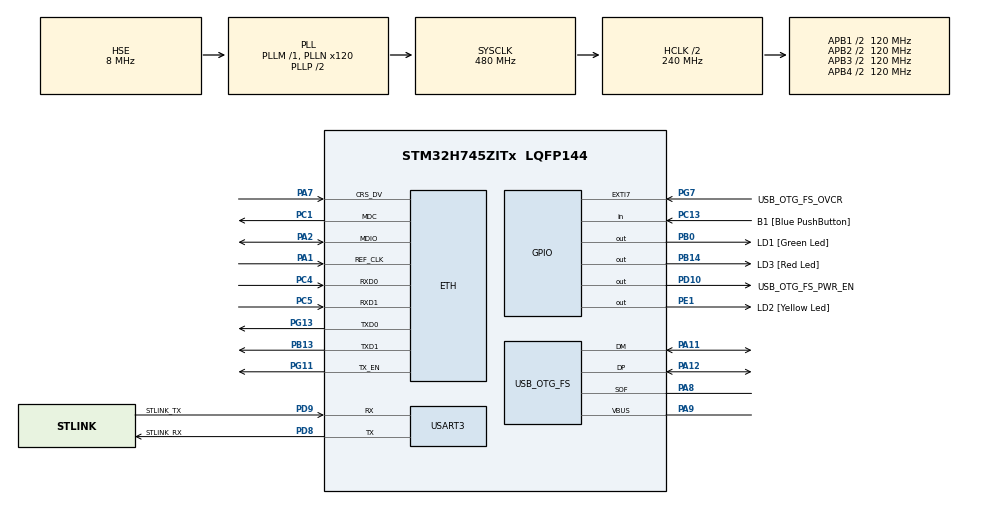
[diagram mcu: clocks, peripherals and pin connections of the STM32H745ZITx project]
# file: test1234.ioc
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CortexM4.IPs=FATFS_M4\:I,FREERTOS_M4\:I,IWDG2\:I,RCC,WWDG2\:I,DMA,BDMA,MDMA,NVIC2\:I,USART3,ETH,DEBUG,USB_DEVICE_M4\:I,USB_HOST_M4\:I,PDM2PCM_M4\:I,PWR,RESMGR_UTILITY,SYS_M4\:I,CORTEX_M4\:I,OPENAMP_M4\:I,VREFBUF
CortexM7.IPs=FATFS_M7\:I,FREERTOS_M7\:I,IWDG1\:I,RCC\:I,WWDG1\:I,DMA\:I,BDMA\:I,MDMA\:I,NVIC1\:I,SYS\:I,USART3\:I,USB_OTG_FS\:I,ETH\:I,CORTEX_M7\:I,DEBUG\:I,USB_DEVICE_M7\:I,USB_HOST_M7\:I,PDM2PCM_M7\:I,PWR\:I,RESMGR_UTILITY\:I,OPENAMP_M7\:I,VREFBUF\:I,TIM2\:I
ETH.MediaInterface=HAL_ETH_RMII_MODE
Mcu.Family=STM32H7
Mcu.Name=STM32H745ZITx
Mcu.Package=LQFP144
NVIC1.PriorityGroup=NVIC_PRIORITYGROUP_4
NVIC1.TIM2_IRQn=true\:0\:0\:false\:false\:true\:true\:true
NVIC2.PriorityGroup=NVIC_PRIORITYGROUP_4
PA1.Mode=RMII
PA1.PinAttribute=CortexM7
PA1.Signal=ETH_REF_CLK
PA11.Mode=Device_Only
PA11.PinAttribute=CortexM7
PA11.Signal=USB_OTG_FS_DM
PA12.Mode=Device_Only
PA12.PinAttribute=CortexM7
PA12.Signal=USB_OTG_FS_DP
PA2.Mode=RMII
PA2.PinAttribute=CortexM7
PA2.Signal=ETH_MDIO
PA7.Mode=RMII
PA7.PinAttribute=CortexM7
PA7.Signal=ETH_CRS_DV
PA8.Mode=Activate_SOF_FS
PA8.PinAttribute=CortexM7
PA8.Signal=USB_OTG_FS_SOF
PA9.Mode=Activate_VBUS
PA9.PinAttribute=CortexM7
PA9.Signal=USB_OTG_FS_VBUS
PB0.GPIO_Label=LD1 [Green Led]
PB0.PinAttribute=Free
PB0.Signal=GPIO_Output
PB13.Mode=RMII
PB13.PinAttribute=CortexM7
PB13.Signal=ETH_TXD1
PB14.GPIO_Label=LD3 [Red Led]
PB14.PinAttribute=Free
PB14.Signal=GPIO_Output
PC1.Mode=RMII
PC1.PinAttribute=CortexM7
PC1.Signal=ETH_MDC
PC13.GPIO_Label=B1 [Blue PushButton]
PC13.PinAttribute=Free
PC13.Signal=GPIO_Input
PC14-OSC32_IN\ (OSC32_IN).Mode=LSE-External-Oscillator
PC14-OSC32_IN\ (OSC32_IN).PinAttribute=CortexM7
PC14-OSC32_IN\ (OSC32_IN).Signal=RCC_OSC32_IN
PC15-OSC32_OUT\ (OSC32_OUT).Mode=LSE-External-Oscillator
PC15-OSC32_OUT\ (OSC32_OUT).PinAttribute=CortexM7
PC15-OSC32_OUT\ (OSC32_OUT).Signal=RCC_OSC32_OUT
PC4.Mode=RMII
PC4.PinAttribute=CortexM7
PC4.Signal=ETH_RXD0
PC5.Mode=RMII
PC5.PinAttribute=CortexM7
PC5.Signal=ETH_RXD1
PD10.GPIO_Label=USB_OTG_FS_PWR_EN
PD10.PinAttribute=Free
PD10.Signal=GPIO_Output
PD8.GPIO_Label=STLINK_RX
PD8.Mode=Asynchronous
PD8.PinAttribute=CortexM7
PD8.Signal=USART3_TX
PD9.GPIO_Label=STLINK_TX
PD9.Mode=Asynchronous
PD9.PinAttribute=CortexM7
PD9.Signal=USART3_RX
PE1.GPIO_Label=LD2 [Yellow Led]
PE1.PinAttribute=Free
PE1.Signal=GPIO_Output
PG11.Mode=RMII
PG11.PinAttribute=CortexM7
PG11.Signal=ETH_TX_EN
PG13.Mode=RMII
PG13.PinAttribute=CortexM7
PG13.Signal=ETH_TXD0
PG7.GPIO_Label=USB_OTG_FS_OVCR
PG7.PinAttribute=Free
PG7.Signal=GPXTI7
PH0-OSC_IN\ (PH0).Mode=HSE-External-Clock-Source
PH0-OSC_IN\ (PH0).PinAttribute=CortexM7
PH0-OSC_IN\ (PH0).Signal=RCC_OSC_IN
PH1-OSC_OUT\ (PH1).PinAttribute=CortexM7
PH1-OSC_OUT\ (PH1).Signal=RCC_OSC_OUT
ProjectManager.HeapSize=M4-0x200,M7-0x200
ProjectManager.StackSize=M4-0x400,M7-0x400
ProjectManager.TargetToolchain=STM32CubeIDE
RCC.ADCFreq_Value=16125000
RCC.APB1Freq_Value=120000000
RCC.APB2Freq_Value=120000000
RCC.APB3Freq_Value=120000000
RCC.APB4Freq_Value=120000000
RCC.CortexFreq_Value=480000000
RCC.D1PPRE=RCC_APB3_DIV2
RCC.D2PPRE1=RCC_APB1_DIV2
RCC.D2PPRE2=RCC_APB2_DIV2
RCC.D3PPRE=RCC_APB4_DIV2
RCC.DIVM1=1
RCC.DIVM3=1
RCC.DIVN1=120
RCC.DIVN3=24
RCC.DIVQ3=4
RCC.HCLKFreq_Value=240000000
RCC.HPRE=RCC_HCLK_DIV2
RCC.HSE_VALUE=8000000
RCC.PLL2FRACN=0
RCC.PLL3FRACN=0
RCC.PLLFRACN=0
RCC.SYSCLKFreq_VALUE=480000000
RCC.SYSCLKSource=RCC_SYSCLKSOURCE_PLLCLK
RCC.SupplySource=PWR_DIRECT_SMPS_SUPPLY
RCC.USBCLockSelection=RCC_USBCLKSOURCE_PLL3
RCC.USBFreq_Value=48000000
TIM2.AutoReloadPreload=TIM_AUTORELOAD_PRELOAD_ENABLE
TIM2.Period=240
TIM2.Prescaler=1000
USART3.VirtualMode-Asynchronous=VM_ASYNC
USB_OTG_FS.VirtualMode=Device_Only
VP_SYS_M4_VS_Systick.Mode=SysTick
VP_TIM2_VS_ClockSourceINT.Mode=Internal
board=NUCLEO-H745ZI-Q

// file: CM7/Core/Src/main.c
/* USER CODE BEGIN Header */
/**
  ******************************************************************************
  * @file           : main.c
  * @brief          : Main program body
  ******************************************************************************
  * @attention
  *
  * <h2><center>&copy; Copyright (c) 2021 STMicroelectronics.
  * All rights reserved.</center></h2>
  *
  * This software component is licensed by ST under BSD 3-Clause license,
  * the "License"; You may not use this file except in compliance with the
  * License. You may obtain a copy of the License at:
  *                        opensource.org/licenses/BSD-3-Clause
  *
  ******************************************************************************
  */
/* USER CODE END Header */
#include "main.h"
#include "eth.h"
#include "tim.h"
#include "usart.h"
#include "usb_otg.h"
#include "gpio.h"

/* USER CODE BEGIN PD */

#ifndef HSEM_ID_0
#define HSEM_ID_0 (0U) /* HW semaphore 0*/
#endif
/* USER CODE END PD */

/* USER CODE BEGIN PV */
 float a;
uint16_t b;
float sn;
float phase2;
float sn2;
float dift2;
float correctedsn;
/* USER CODE END PV */

void SystemClock_Config(void);
/* USER CODE BEGIN PFP */

#ifdef __GNUC__
  /* With GCC, small printf (option LD Linker->Libraries->Small printf
     set to 'Yes') calls __io_putchar() */
  #define PUTCHAR_PROTOTYPE int __io_putchar(int ch)
#else
  #define PUTCHAR_PROTOTYPE int fputc(int ch, FILE *f)
#endif /* __GNUC__ */

PUTCHAR_PROTOTYPE
{
  /* Place your implementation of fputc here */
  /* e.g. write a character to the EVAL_COM1 and Loop until the end of transmission */
  HAL_UART_Transmit(&huart3, (uint8_t *)&ch, 1, 0xFFFF);

  return ch;
}
/* USER CODE END PFP */

int main(void)
{
/* USER CODE BEGIN Boot_Mode_Sequence_0 */
  int32_t timeout;

/* USER CODE END Boot_Mode_Sequence_0 */

/* USER CODE BEGIN Boot_Mode_Sequence_1 */
  /* Wait until CPU2 boots and enters in stop mode or timeout*/
  timeout = 0xFFFF;
  while((__HAL_RCC_GET_FLAG(RCC_FLAG_D2CKRDY) != RESET) && (timeout-- > 0));
  if ( timeout < 0 )
  {
  Error_Handler();
  }
/* USER CODE END Boot_Mode_Sequence_1 */
  /* MCU Configuration--------------------------------------------------------*/

  /* Reset of all peripherals, Initializes the Flash interface and the Systick. */
  HAL_Init();

  /* Configure the system clock */
  SystemClock_Config();
/* USER CODE BEGIN Boot_Mode_Sequence_2 */
/* When system initialization is finished, Cortex-M7 will release Cortex-M4 by means of
HSEM notification */
/*HW semaphore Clock enable*/
__HAL_RCC_HSEM_CLK_ENABLE();
/*Take HSEM */
HAL_HSEM_FastTake(HSEM_ID_0);
/*Release HSEM in order to notify the CPU2(CM4)*/
HAL_HSEM_Release(HSEM_ID_0,0);
/* wait until CPU2 wakes up from stop mode */
timeout = 0xFFFF;
while((__HAL_RCC_GET_FLAG(RCC_FLAG_D2CKRDY) == RESET) && (timeout-- > 0));
if ( timeout < 0 )
{
Error_Handler();
}
/* USER CODE END Boot_Mode_Sequence_2 */

  /* Initialize all configured peripherals */
  MX_GPIO_Init();
  MX_ETH_Init();
  MX_USART3_UART_Init();
  MX_USB_OTG_FS_PCD_Init();
  MX_TIM2_Init();
  /* USER CODE BEGIN 2 */

 // HAL_TIM_Base_Start_IT(&htim2);

  /* USER CODE END 2 */

  /* Infinite loop */
  /* USER CODE BEGIN WHILE */
  a = 0.78;

  typedef float ** MATRIX;

  while (1)
  {
    /* USER CODE END WHILE */

    /* USER CODE BEGIN 3 */
	  //HAL_Delay(5000);
	 // Eigertest();
	//  float **test = createNewMatrix(2, 5, 5);
	//  printMatrix(test,5,5);

	 // MATRIX test = createNewMatrix(2, 5, 5);
	 // printMatrix(test, 5, 5);

	  //MATRIX inverse = inverseMatrix(test, 5);
	  //printMatrix(inverse, 5, 5);
	  //elipsecoef();
	  //centerElipse();

	  float ** a = generateElispoidData();

	  //float ** sqr = SquareMatrix(test, 5, 5);
	  //printMatrix(sqr, 5, 5);

	 // testb();

	// float d = detrminant(test,5);
	// printf("the detrimant is : %f \r\r",d);
	 // float **test1	 = TransposeMatrix(test, 5, 5);
	 	//  printMatrix(test1,5,5);

//	  float **test2 = SquareMatrix(test,5,5);
		// printMatrix(test2,5,5);
	//  leastSqaresElipse();
	 // l = detrminant1(test,5);
//printf("detriment is: %f\r\n",l);

	 // HAL_Delay(50000);
	  while(1){}

  }
  /* USER CODE END 3 */
}

void SystemClock_Config(void)
{
  RCC_OscInitTypeDef RCC_OscInitStruct = {0};
  RCC_ClkInitTypeDef RCC_ClkInitStruct = {0};

  /** Supply configuration update enable
  */
  HAL_PWREx_ConfigSupply(PWR_DIRECT_SMPS_SUPPLY);
  /** Configure the main internal regulator output voltage
  */
  __HAL_PWR_VOLTAGESCALING_CONFIG(PWR_REGULATOR_VOLTAGE_SCALE0);

  while(!__HAL_PWR_GET_FLAG(PWR_FLAG_VOSRDY)) {}
  /** Macro to configure the PLL clock source
  */
  __HAL_RCC_PLL_PLLSOURCE_CONFIG(RCC_PLLSOURCE_HSE);
  /** Initializes the RCC Oscillators according to the specified parameters
  * in the RCC_OscInitTypeDef structure.
  */
  RCC_OscInitStruct.OscillatorType = RCC_OSCILLATORTYPE_HSE;
  RCC_OscInitStruct.HSEState = RCC_HSE_BYPASS;
  RCC_OscInitStruct.PLL.PLLState = RCC_PLL_ON;
  RCC_OscInitStruct.PLL.PLLSource = RCC_PLLSOURCE_HSE;
  RCC_OscInitStruct.PLL.PLLM = 1;
  RCC_OscInitStruct.PLL.PLLN = 120;
  RCC_OscInitStruct.PLL.PLLP = 2;
  RCC_OscInitStruct.PLL.PLLQ = 2;
  RCC_OscInitStruct.PLL.PLLR = 2;
  RCC_OscInitStruct.PLL.PLLRGE = RCC_PLL1VCIRANGE_3;
  RCC_OscInitStruct.PLL.PLLVCOSEL = RCC_PLL1VCOWIDE;
  RCC_OscInitStruct.PLL.PLLFRACN = 0;
  if (HAL_RCC_OscConfig(&RCC_OscInitStruct) != HAL_OK)
  {
    Error_Handler();
  }
  /** Initializes the CPU, AHB and APB buses clocks
  */
  RCC_ClkInitStruct.ClockType = RCC_CLOCKTYPE_HCLK|RCC_CLOCKTYPE_SYSCLK
                              |RCC_CLOCKTYPE_PCLK1|RCC_CLOCKTYPE_PCLK2
                              |RCC_CLOCKTYPE_D3PCLK1|RCC_CLOCKTYPE_D1PCLK1;
  RCC_ClkInitStruct.SYSCLKSource = RCC_SYSCLKSOURCE_PLLCLK;
  RCC_ClkInitStruct.SYSCLKDivider = RCC_SYSCLK_DIV1;
  RCC_ClkInitStruct.AHBCLKDivider = RCC_HCLK_DIV2;
  RCC_ClkInitStruct.APB3CLKDivider = RCC_APB3_DIV2;
  RCC_ClkInitStruct.APB1CLKDivider = RCC_APB1_DIV2;
  RCC_ClkInitStruct.APB2CLKDivider = RCC_APB2_DIV2;
  RCC_ClkInitStruct.APB4CLKDivider = RCC_APB4_DIV2;

  if (HAL_RCC_ClockConfig(&RCC_ClkInitStruct, FLASH_LATENCY_4) != HAL_OK)
  {
    Error_Handler();
  }
}

void Error_Handler(void)
{
  __disable_irq();
  while (1)
  {
  }
}

/************************ (C) COPYRIGHT STMicroelectronics *****END OF FILE****/
